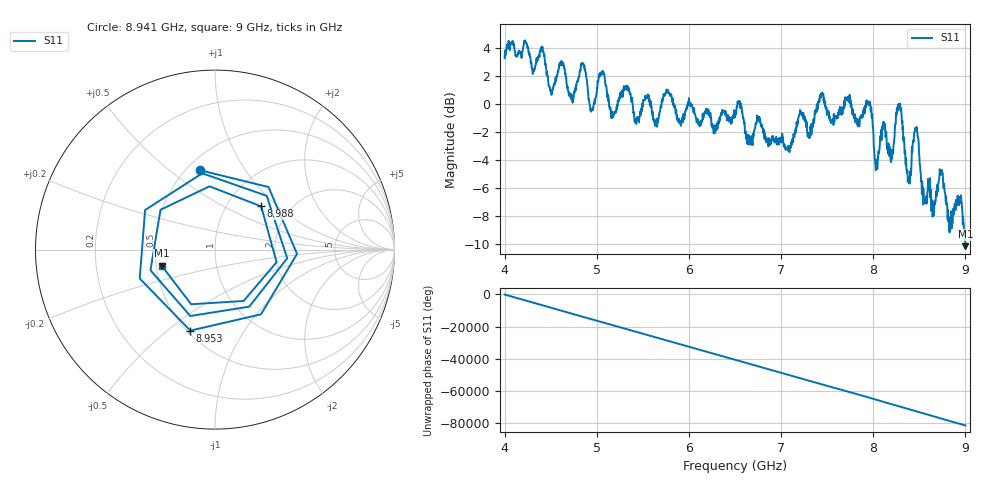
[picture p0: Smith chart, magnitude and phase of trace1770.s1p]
! Created with skrf 1.8.0 (http://scikit-rf.org).
# Hz S RI R 50.0
!freq ReS11 ImS11
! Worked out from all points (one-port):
!   1601 points, 4 GHz to 9 GHz, reference 50 ohm
!   lowest |S11| = -10.2 dB at 9 GHz (marker M1), VSWR 1.90, Z = 26.7 - j5.31 ohm
!   |S11| at or under -10 dB: 8.99917 GHz to end of sweep
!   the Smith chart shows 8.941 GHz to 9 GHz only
!   S11 on the Smith chart (normalised r, x): 8.941 GHz: 0.58, +0.64; 8.953 GHz: 0.52, -0.60; 8.988 GHz: 1.44, +0.79; 9 GHz: 0.53, -0.11
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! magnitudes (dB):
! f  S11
! 4 GHz  3.3
! 4.406 GHz  4.0
! 4.503 GHz  0.9
! 4.625 GHz  2.9
! 4.722 GHz  0.4
! 4.847 GHz  2.9
! 4.941 GHz  -0.5
! 5.05 GHz  2.2
! 5.162 GHz  -0.5
! 5.25 GHz  0.4
! 5.875 GHz  -1.2
! 6.5 GHz  -1.0
! 7.125 GHz  -2.7
! 7.434 GHz  0.5
! 7.75 GHz  0.1
! 7.953 GHz  0.0
! 8.038 GHz  -4.0
! 8.112 GHz  -1.3
! 8.2 GHz  -3.3
! 8.281 GHz  0.0
! 8.375 GHz  -5.6
! 8.466 GHz  -1.8
! 8.559 GHz  -6.8
! 8.731 GHz  -5.0
! 8.941 GHz  -6.9
! 8.953 GHz  -6.5
! 8.988 GHz  -9.1
! 9 GHz  -10.2
